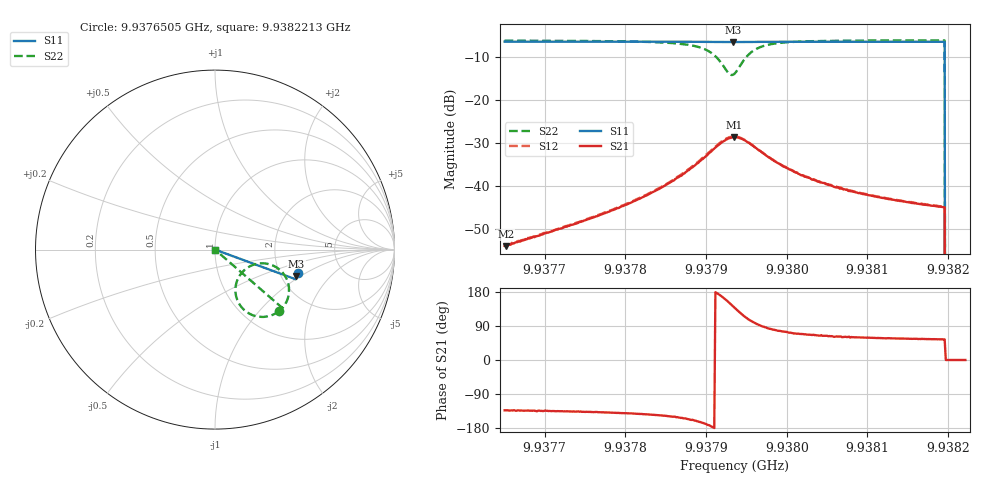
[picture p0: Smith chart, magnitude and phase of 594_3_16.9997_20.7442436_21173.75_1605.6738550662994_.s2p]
#  HZ  S  RI  R  50.00
! Rohde & Schwarz Vector Network Analyzer
! Rohde-Schwarz,ZNB20-2Port,1311601062101988,3.16
! Created: UTC 3/20/2024, 11:18:45 PM
! freq[Hz]  re:S11  im:S11  re:S21  im:S21  re:S12  im:S12  re:S22  im:S22
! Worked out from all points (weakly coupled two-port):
!   401 points, 9.9376505 GHz to 9.9382213 GHz, reference 50 ohm
!   highest |S21| = -28.55 dB at 9.9379345 GHz (marker M1); lowest = -53.9 dB at 9.937652 GHz (marker M2)
!   lowest |S11| = -6.4 dB at 9.9379331 GHz (marker M3), VSWR 2.82, Z = 120 - j46 ohm
!   |S11| at or under -10 dB: 9.9381957 GHz to end of sweep
!   |S22| runs from - to -6.1 dB; largest |S21 - S12| = 0.0017
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9.93765054e9  0.464 -0.1314  -0.00138 -0.00149  -0.00143 -0.00151  0.3573 -0.3424
9.93765197e9  0.4638 -0.1314  -0.00137 -0.00148  -0.00145 -0.00151  0.357 -0.3426
9.93774615e9  0.4614 -0.1379  -0.00286 -0.00269  -0.00292 -0.00268  0.3394 -0.3544
9.93780038e9  0.46 -0.1414  -0.00471 -0.0039  -0.00484 -0.00387  0.3199 -0.3638
9.93784176e9  0.4587 -0.1444  -0.00773 -0.00524  -0.008 -0.00523  0.2917 -0.3721
9.93787173e9  0.4573 -0.1467  -0.0125 -0.00618  -0.0128 -0.00617  0.2512 -0.3748
9.93789884e9  0.4555 -0.1484  -0.0216 -0.00449  -0.0223 -0.00421  0.1786 -0.349
9.93791025e9  0.4546 -0.1487  -0.0275 -0.000235  -0.0283 0.000399  0.137 -0.3059
9.93792024e9  0.4535 -0.1486  -0.032 0.00767  -0.0325 0.00871  0.1138 -0.2358
9.93792881e9  0.4531 -0.1478  -0.0319 0.0175  -0.0322 0.019  0.1309 -0.1562
9.93793309e9  0.453 -0.1476  -0.0295 0.0226  -0.0293 0.024  0.1575 -0.1201
9.93793451e9  0.4531 -0.1475  -0.0286 0.0241  -0.0282 0.0257  0.1688 -0.1098
9.93793594e9  0.4532 -0.1475  -0.0271 0.0255  -0.0269 0.0271  0.1808 -0.101
9.93795164e9  0.4546 -0.1473  -0.0105 0.031  -0.00959 0.0317  0.3206 -0.0876
9.93796733e9  0.4556 -0.1488  -0.000402 0.0258  0.000282 0.0259  0.3901 -0.1465
9.93799587e9  0.4558 -0.1515  0.00438 0.0164  0.00493 0.0165  0.4128 -0.2255
9.93803155e9  0.455 -0.1544  0.0049 0.0109  0.00513 0.011  0.4061 -0.2707
9.93807864e9  0.4535 -0.1578  0.00454 0.00762  0.00456 0.00773  0.3947 -0.298
9.93812715e9  0.4524 -0.1611  0.00383 0.00598  0.004 0.00598  0.3854 -0.313
9.9381928e9  0.4506 -0.1655  0.00333 0.00471  0.00345 0.00468  0.3764 -0.3251
9.93819993e9  0 0  0 0  0 0  0 0
9.93822134e9  0 0  0 0  0 0  0 0
